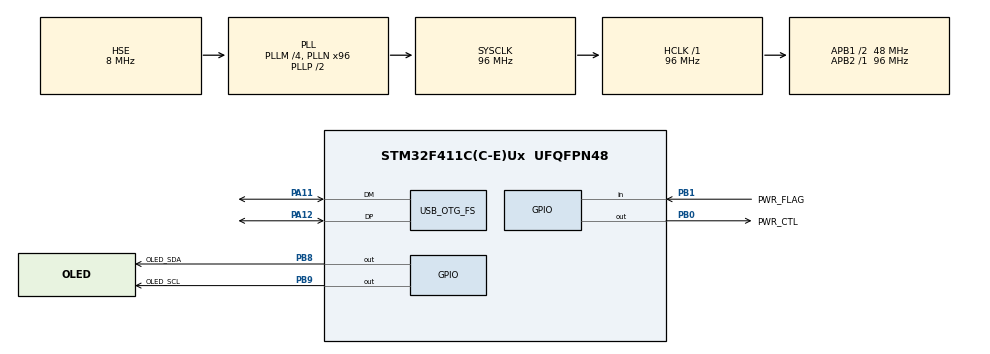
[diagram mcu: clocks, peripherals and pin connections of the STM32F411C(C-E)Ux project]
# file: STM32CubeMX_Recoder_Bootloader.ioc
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Mcu.Family=STM32F4
Mcu.Name=STM32F411C(C-E)Ux
Mcu.Package=UFQFPN48
NVIC.OTG_FS_IRQn=true\:0\:0\:false\:false\:true\:false\:true
NVIC.PriorityGroup=NVIC_PRIORITYGROUP_4
PA11.Mode=Device_Only
PA11.Signal=USB_OTG_FS_DM
PA12.Mode=Device_Only
PA12.Signal=USB_OTG_FS_DP
PA13.Mode=Trace_Asynchronous_SW
PA13.Signal=SYS_JTMS-SWDIO
PA14.Mode=Trace_Asynchronous_SW
PA14.Signal=SYS_JTCK-SWCLK
PB0.GPIO_Label=PWR_CTL
PB0.GPIO_PuPd=GPIO_PULLDOWN
PB0.Signal=GPIO_Output
PB1.GPIO_Label=PWR_FLAG
PB1.GPIO_PuPd=GPIO_PULLUP
PB1.Signal=GPIO_Input
PB3.Mode=Trace_Asynchronous_SW
PB3.Signal=SYS_JTDO-SWO
PB8.GPIO_Label=OLED_SDA
PB8.GPIO_PuPd=GPIO_PULLUP
PB8.GPIO_Speed=GPIO_SPEED_FREQ_VERY_HIGH
PB8.PinState=GPIO_PIN_SET
PB8.Signal=GPIO_Output
PB9.GPIO_Label=OLED_SCL
PB9.GPIO_PuPd=GPIO_PULLUP
PB9.GPIO_Speed=GPIO_SPEED_FREQ_VERY_HIGH
PB9.PinState=GPIO_PIN_SET
PB9.Signal=GPIO_Output
PH0\ -\ OSC_IN.Mode=HSE-External-Oscillator
PH0\ -\ OSC_IN.Signal=RCC_OSC_IN
PH1\ -\ OSC_OUT.Mode=HSE-External-Oscillator
PH1\ -\ OSC_OUT.Signal=RCC_OSC_OUT
ProjectManager.HeapSize=0x8000
ProjectManager.StackSize=0x1000
ProjectManager.TargetToolchain=MDK-ARM V5.27
RCC.48MHZClocksFreq_Value=48000000
RCC.AHBFreq_Value=96000000
RCC.APB1CLKDivider=RCC_HCLK_DIV2
RCC.APB1Freq_Value=48000000
RCC.APB1TimFreq_Value=96000000
RCC.APB2Freq_Value=96000000
RCC.APB2TimFreq_Value=96000000
RCC.CortexFreq_Value=96000000
RCC.HCLKFreq_Value=96000000
RCC.HSE_VALUE=8000000
RCC.HSI_VALUE=16000000
RCC.LSE_VALUE=32768
RCC.PLLM=4
RCC.PLLN=96
RCC.SYSCLKFreq_VALUE=96000000
RCC.SYSCLKSource=RCC_SYSCLKSOURCE_PLLCLK
RCC.VCOOutputFreq_Value=192000000
USB_DEVICE.CLASS_NAME_FS=DFU
USB_DEVICE.USBD_DEBUG_LEVEL=0
USB_DEVICE.USBD_DFU_APP_DEFAULT_ADD=0x08008000
USB_DEVICE.USBD_DFU_MEDIA=@Internal Flash   /0x08000000/02*016Ka,02*016Kg,01*064Kg,03*128Kg
USB_DEVICE.VirtualMode=Dfu
USB_DEVICE.VirtualModeFS=Dfu_FS
USB_OTG_FS.VirtualMode=Device_Only
VP_USB_DEVICE_VS_USB_DEVICE_DFU_FS.Mode=DFU_FS
board=custom

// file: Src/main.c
/* USER CODE BEGIN Header */
/**
  ******************************************************************************
  * @file           : main.c
  * @brief          : Main program body
  ******************************************************************************
  * @attention
  *
  * <h2><center>&copy; Copyright (c) 2020 STMicroelectronics.
  * All rights reserved.</center></h2>
  *
  * This software component is licensed by ST under Ultimate Liberty license
  * SLA0044, the "License"; You may not use this file except in compliance with
  * the License. You may obtain a copy of the License at:
  *                             www.st.com/SLA0044
  *
  ******************************************************************************
  */
/* USER CODE END Header */

#include "main.h"
#include "usb_device.h"

/* USER CODE BEGIN Includes */
#include "usbd_dfu.h"
#include "oled.h"
/* USER CODE END Includes */

/* USER CODE BEGIN PTD */
pFunction JumpToApplication;
uint32_t JumpAddress;
/* USER CODE END PTD */

/* USER CODE BEGIN PV */
unsigned char data[1024*20];
int count = 0;
/* USER CODE END PV */

void SystemClock_Config(void);
static void MX_GPIO_Init(void);
/* USER CODE BEGIN PFP */
int fputc(int ch, FILE *f) {
	data[count++] = *(uint8_t *)&ch;
	return ch;
}
/* USER CODE END PFP */

int main(void)
{
  /* USER CODE BEGIN 1 */
	int count = 0;
  /* USER CODE END 1 */

  /* MCU Configuration--------------------------------------------------------*/

  /* Reset of all peripherals, Initializes the Flash interface and the Systick. */
  HAL_Init();

  /* Configure the system clock */
  SystemClock_Config();

  /* Initialize all configured peripherals */
  MX_GPIO_Init();
  /* USER CODE BEGIN 2 */
	HAL_GPIO_WritePin(PWR_CTL_GPIO_Port,PWR_CTL_Pin,1);
	while(!HAL_GPIO_ReadPin(PWR_FLAG_GPIO_Port,PWR_FLAG_Pin))
	{
		HAL_Delay(50);
		count++;
	}
	if(count >= 60)
	{
		OLED_Init();
		OLED_Clear();
		OLED_ShowString(0,0,(unsigned char*)"DFU Mode...",8);
		MX_USB_DEVICE_Init();
		while(1)
		{
			if(HAL_GPIO_ReadPin(PWR_FLAG_GPIO_Port,PWR_FLAG_Pin) == 0)
			{
				HAL_GPIO_WritePin(PWR_CTL_GPIO_Port,PWR_CTL_Pin,0);
				while(1);
			}
		}
	}
	/* Test if user code is programmed starting from USBD_DFU_APP_DEFAULT_ADD address */
  if(((*(__IO uint32_t*)USBD_DFU_APP_DEFAULT_ADD) & 0x2FFE0000 ) == 0x20000000)
  {
	  /* Jump to user application */
	  JumpAddress = *(__IO uint32_t*) (USBD_DFU_APP_DEFAULT_ADD + 4);
	  JumpToApplication = (pFunction) JumpAddress;

	  /* Initialize user application's Stack Pointer */
	  __set_MSP(*(__IO uint32_t*) USBD_DFU_APP_DEFAULT_ADD);
	  JumpToApplication();
  }
	//HAL_GPIO_WritePin(PWR_CTL_GPIO_Port,PWR_CTL_Pin,0);
  /* USER CODE END 2 */

  /* Infinite loop */
  /* USER CODE BEGIN WHILE */
	OLED_Init();
	OLED_Clear();
	OLED_ShowString(0,0,(unsigned char*)"DFU Mode...",8);
	MX_USB_DEVICE_Init();
  while (1)
  {
		if(HAL_GPIO_ReadPin(PWR_FLAG_GPIO_Port,PWR_FLAG_Pin) == 0)
			{
				HAL_GPIO_WritePin(PWR_CTL_GPIO_Port,PWR_CTL_Pin,0);
				while(1);
			}
    /* USER CODE END WHILE */

  }
}

void SystemClock_Config(void)
{
  RCC_OscInitTypeDef RCC_OscInitStruct = {0};
  RCC_ClkInitTypeDef RCC_ClkInitStruct = {0};

  /** Configure the main internal regulator output voltage
  */
  __HAL_RCC_PWR_CLK_ENABLE();
  __HAL_PWR_VOLTAGESCALING_CONFIG(PWR_REGULATOR_VOLTAGE_SCALE1);
  /** Initializes the CPU, AHB and APB busses clocks
  */
  RCC_OscInitStruct.OscillatorType = RCC_OSCILLATORTYPE_HSE;
  RCC_OscInitStruct.HSEState = RCC_HSE_ON;
  RCC_OscInitStruct.PLL.PLLState = RCC_PLL_ON;
  RCC_OscInitStruct.PLL.PLLSource = RCC_PLLSOURCE_HSE;
  RCC_OscInitStruct.PLL.PLLM = 4;
  RCC_OscInitStruct.PLL.PLLN = 96;
  RCC_OscInitStruct.PLL.PLLP = RCC_PLLP_DIV2;
  RCC_OscInitStruct.PLL.PLLQ = 4;
  if (HAL_RCC_OscConfig(&RCC_OscInitStruct) != HAL_OK)
  {
    Error_Handler();
  }
  /** Initializes the CPU, AHB and APB busses clocks
  */
  RCC_ClkInitStruct.ClockType = RCC_CLOCKTYPE_HCLK|RCC_CLOCKTYPE_SYSCLK
                              |RCC_CLOCKTYPE_PCLK1|RCC_CLOCKTYPE_PCLK2;
  RCC_ClkInitStruct.SYSCLKSource = RCC_SYSCLKSOURCE_PLLCLK;
  RCC_ClkInitStruct.AHBCLKDivider = RCC_SYSCLK_DIV1;
  RCC_ClkInitStruct.APB1CLKDivider = RCC_HCLK_DIV2;
  RCC_ClkInitStruct.APB2CLKDivider = RCC_HCLK_DIV1;

  if (HAL_RCC_ClockConfig(&RCC_ClkInitStruct, FLASH_LATENCY_3) != HAL_OK)
  {
    Error_Handler();
  }
}

static void MX_GPIO_Init(void)
{
  GPIO_InitTypeDef GPIO_InitStruct = {0};

  /* GPIO Ports Clock Enable */
  __HAL_RCC_GPIOH_CLK_ENABLE();
  __HAL_RCC_GPIOB_CLK_ENABLE();
  __HAL_RCC_GPIOA_CLK_ENABLE();

  /*Configure GPIO pin Output Level */
  HAL_GPIO_WritePin(PWR_CTL_GPIO_Port, PWR_CTL_Pin, GPIO_PIN_RESET);

  /*Configure GPIO pin Output Level */
  HAL_GPIO_WritePin(GPIOB, OLED_SDA_Pin|OLED_SCL_Pin, GPIO_PIN_SET);

  /*Configure GPIO pin : PWR_CTL_Pin */
  GPIO_InitStruct.Pin = PWR_CTL_Pin;
  GPIO_InitStruct.Mode = GPIO_MODE_OUTPUT_PP;
  GPIO_InitStruct.Pull = GPIO_PULLDOWN;
  GPIO_InitStruct.Speed = GPIO_SPEED_FREQ_LOW;
  HAL_GPIO_Init(PWR_CTL_GPIO_Port, &GPIO_InitStruct);

  /*Configure GPIO pin : PWR_FLAG_Pin */
  GPIO_InitStruct.Pin = PWR_FLAG_Pin;
  GPIO_InitStruct.Mode = GPIO_MODE_INPUT;
  GPIO_InitStruct.Pull = GPIO_PULLUP;
  HAL_GPIO_Init(PWR_FLAG_GPIO_Port, &GPIO_InitStruct);

  /*Configure GPIO pins : OLED_SDA_Pin OLED_SCL_Pin */
  GPIO_InitStruct.Pin = OLED_SDA_Pin|OLED_SCL_Pin;
  GPIO_InitStruct.Mode = GPIO_MODE_OUTPUT_PP;
  GPIO_InitStruct.Pull = GPIO_PULLUP;
  GPIO_InitStruct.Speed = GPIO_SPEED_FREQ_VERY_HIGH;
  HAL_GPIO_Init(GPIOB, &GPIO_InitStruct);

}

void Error_Handler(void)
{
}

/************************ (C) COPYRIGHT STMicroelectronics *****END OF FILE****/
